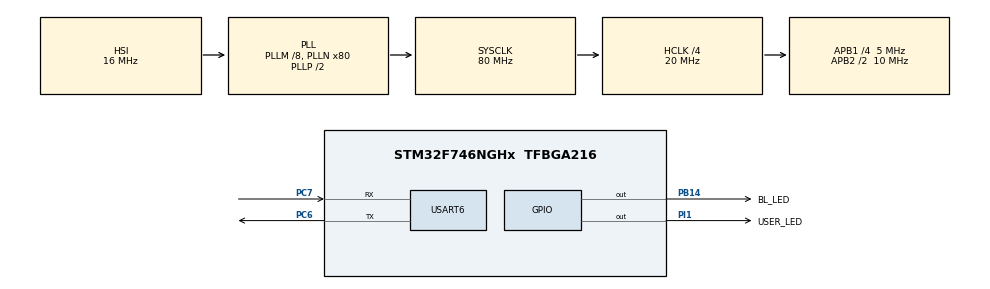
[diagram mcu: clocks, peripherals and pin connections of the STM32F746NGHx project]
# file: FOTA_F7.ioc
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CORTEX_M7.default_mode_Activation=1
Mcu.Family=STM32F7
Mcu.Name=STM32F746NGHx
Mcu.Package=TFBGA216
NVIC.PriorityGroup=NVIC_PRIORITYGROUP_4
NVIC.USART6_IRQn=true\:0\:0\:false\:false\:true\:true\:true\:true
PA13.Mode=Serial_Wire
PA13.Signal=SYS_JTMS-SWDIO
PA14.Mode=Serial_Wire
PA14.Signal=SYS_JTCK-SWCLK
PB14.GPIO_Label=BL_LED
PB14.Signal=GPIO_Output
PC6.Mode=Asynchronous
PC6.Signal=USART6_TX
PC7.Mode=Asynchronous
PC7.Signal=USART6_RX
PI1.GPIO_Label=USER_LED
PI1.Signal=GPIO_Output
ProjectManager.HeapSize=0x200
ProjectManager.StackSize=0x400
ProjectManager.TargetToolchain=STM32CubeIDE
RCC.AHBCLKDivider=RCC_SYSCLK_DIV4
RCC.AHBFreq_Value=20000000
RCC.APB1CLKDivider=RCC_HCLK_DIV4
RCC.APB1Freq_Value=5000000
RCC.APB1TimFreq_Value=10000000
RCC.APB2CLKDivider=RCC_HCLK_DIV2
RCC.APB2Freq_Value=10000000
RCC.APB2TimFreq_Value=20000000
RCC.CortexFreq_Value=20000000
RCC.HCLKFreq_Value=20000000
RCC.HSE_VALUE=25000000
RCC.HSI_VALUE=16000000
RCC.LSE_VALUE=32768
RCC.PLLM=8
RCC.PLLN=80
RCC.SYSCLKFreq_VALUE=80000000
RCC.SYSCLKSource=RCC_SYSCLKSOURCE_PLLCLK
RCC.USBFreq_Value=80000000
RCC.VCOOutputFreq_Value=160000000
USART6.VirtualMode-Asynchronous=VM_ASYNC
VP_CRC_VS_CRC.Mode=CRC_Activate
board=custom

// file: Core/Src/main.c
/* USER CODE BEGIN Header */
/**
  ******************************************************************************
  * @file           : main.c
  * @brief          : Main program body
  ******************************************************************************
  * @attention
  *
  * Copyright (c) 2025 STMicroelectronics.
  * All rights reserved.
  *
  * This software is licensed under terms that can be found in the LICENSE file
  * in the root directory of this software component.
  * If no LICENSE file comes with this software, it is provided AS-IS.
  *
  ******************************************************************************
  */
/* USER CODE END Header */
#include "main.h"

/* USER CODE BEGIN Includes */
#include "bootloader.h"
#include "flash.h"
#include "scheduler.h"
#include "UART.h"
/* USER CODE END Includes */

CRC_HandleTypeDef hcrc;

void SystemClock_Config(void);
static void MPU_Config(void);
static void MX_GPIO_Init(void);
static void MX_USART6_UART_Init(void);
static void MX_CRC_Init(void);

/* USER CODE BEGIN 0 */
static void Status_Led(void*);

#define         SCHEDULER_TASK_COUNT  2
uint32_t g_ui32SchedulerNumTasks = SCHEDULER_TASK_COUNT;
tSchedulerTask g_psSchedulerTable[SCHEDULER_TASK_COUNT] = { { &Status_Led,
		(void*) 0, 500,                       //call every 2mS
		0,                          //count from start
		true                        //is active
		}, { &BL_UART_Fetch_Host_Command, (void*) 0, 10,        //call every 2mS
				0,                          //count from start
				true                        //is active
		}, };

static void Status_Led(void*) {
	HAL_GPIO_TogglePin(BL_LED_GPIO_Port, BL_LED_Pin);
	//USART2_send_string("Hello from bootloader\n\r");
}
/* USER CODE END 0 */

int main(void)
{

  /* MPU Configuration--------------------------------------------------------*/
  MPU_Config();

  /* MCU Configuration--------------------------------------------------------*/

  /* Reset of all peripherals, Initializes the Flash interface and the Systick. */
  HAL_Init();

  /* Configure the system clock */
  SystemClock_Config();

  /* Initialize all configured peripherals */
  MX_GPIO_Init();
  MX_USART6_UART_Init();
  MX_CRC_Init();
  /* USER CODE BEGIN 2 */
  USART6_init();
  //Firmware_Check_Available();
  /* USER CODE END 2 */

  /* Infinite loop */
  while (1)
  {

    /* USER CODE BEGIN 3 */
	  SchedulerRun();
  }
  /* USER CODE END 3 */
}

void SystemClock_Config(void)
{
  RCC_OscInitTypeDef RCC_OscInitStruct = {0};
  RCC_ClkInitTypeDef RCC_ClkInitStruct = {0};

  /** Configure the main internal regulator output voltage
  */
  __HAL_RCC_PWR_CLK_ENABLE();
  __HAL_PWR_VOLTAGESCALING_CONFIG(PWR_REGULATOR_VOLTAGE_SCALE3);

  /** Initializes the RCC Oscillators according to the specified parameters
  * in the RCC_OscInitTypeDef structure.
  */
  RCC_OscInitStruct.OscillatorType = RCC_OSCILLATORTYPE_HSI;
  RCC_OscInitStruct.HSIState = RCC_HSI_ON;
  RCC_OscInitStruct.HSICalibrationValue = RCC_HSICALIBRATION_DEFAULT;
  RCC_OscInitStruct.PLL.PLLState = RCC_PLL_ON;
  RCC_OscInitStruct.PLL.PLLSource = RCC_PLLSOURCE_HSI;
  RCC_OscInitStruct.PLL.PLLM = 8;
  RCC_OscInitStruct.PLL.PLLN = 80;
  RCC_OscInitStruct.PLL.PLLP = RCC_PLLP_DIV2;
  RCC_OscInitStruct.PLL.PLLQ = 2;
  if (HAL_RCC_OscConfig(&RCC_OscInitStruct) != HAL_OK)
  {
    Error_Handler();
  }

  /** Initializes the CPU, AHB and APB buses clocks
  */
  RCC_ClkInitStruct.ClockType = RCC_CLOCKTYPE_HCLK|RCC_CLOCKTYPE_SYSCLK
                              |RCC_CLOCKTYPE_PCLK1|RCC_CLOCKTYPE_PCLK2;
  RCC_ClkInitStruct.SYSCLKSource = RCC_SYSCLKSOURCE_PLLCLK;
  RCC_ClkInitStruct.AHBCLKDivider = RCC_SYSCLK_DIV4;
  RCC_ClkInitStruct.APB1CLKDivider = RCC_HCLK_DIV4;
  RCC_ClkInitStruct.APB2CLKDivider = RCC_HCLK_DIV2;

  if (HAL_RCC_ClockConfig(&RCC_ClkInitStruct, FLASH_LATENCY_0) != HAL_OK)
  {
    Error_Handler();
  }
}

static void MX_CRC_Init(void)
{

  hcrc.Instance = CRC;
  hcrc.Init.DefaultPolynomialUse = DEFAULT_POLYNOMIAL_ENABLE;
  hcrc.Init.DefaultInitValueUse = DEFAULT_INIT_VALUE_ENABLE;
  hcrc.Init.InputDataInversionMode = CRC_INPUTDATA_INVERSION_NONE;
  hcrc.Init.OutputDataInversionMode = CRC_OUTPUTDATA_INVERSION_DISABLE;
  hcrc.InputDataFormat = CRC_INPUTDATA_FORMAT_BYTES;
  if (HAL_CRC_Init(&hcrc) != HAL_OK)
  {
    Error_Handler();
  }

}

static void MX_USART6_UART_Init(void)
{

  LL_USART_InitTypeDef USART_InitStruct = {0};

  LL_GPIO_InitTypeDef GPIO_InitStruct = {0};
  RCC_PeriphCLKInitTypeDef PeriphClkInitStruct = {0};

  /** Initializes the peripherals clock
  */
  PeriphClkInitStruct.PeriphClockSelection = RCC_PERIPHCLK_USART6;
  PeriphClkInitStruct.Usart6ClockSelection = RCC_USART6CLKSOURCE_PCLK2;
  if (HAL_RCCEx_PeriphCLKConfig(&PeriphClkInitStruct) != HAL_OK)
  {
    Error_Handler();
  }

  /* Peripheral clock enable */
  LL_APB2_GRP1_EnableClock(LL_APB2_GRP1_PERIPH_USART6);

  LL_AHB1_GRP1_EnableClock(LL_AHB1_GRP1_PERIPH_GPIOC);
  /**USART6 GPIO Configuration
  PC7   ------> USART6_RX
  PC6   ------> USART6_TX
  */
  GPIO_InitStruct.Pin = LL_GPIO_PIN_7;
  GPIO_InitStruct.Mode = LL_GPIO_MODE_ALTERNATE;
  GPIO_InitStruct.Speed = LL_GPIO_SPEED_FREQ_VERY_HIGH;
  GPIO_InitStruct.OutputType = LL_GPIO_OUTPUT_PUSHPULL;
  GPIO_InitStruct.Pull = LL_GPIO_PULL_NO;
  GPIO_InitStruct.Alternate = LL_GPIO_AF_8;
  LL_GPIO_Init(GPIOC, &GPIO_InitStruct);

  GPIO_InitStruct.Pin = LL_GPIO_PIN_6;
  GPIO_InitStruct.Mode = LL_GPIO_MODE_ALTERNATE;
  GPIO_InitStruct.Speed = LL_GPIO_SPEED_FREQ_VERY_HIGH;
  GPIO_InitStruct.OutputType = LL_GPIO_OUTPUT_PUSHPULL;
  GPIO_InitStruct.Pull = LL_GPIO_PULL_NO;
  GPIO_InitStruct.Alternate = LL_GPIO_AF_8;
  LL_GPIO_Init(GPIOC, &GPIO_InitStruct);

  /* USART6 interrupt Init */
  NVIC_SetPriority(USART6_IRQn, NVIC_EncodePriority(NVIC_GetPriorityGrouping(),0, 0));
  NVIC_EnableIRQ(USART6_IRQn);

  USART_InitStruct.BaudRate = 115200;
  USART_InitStruct.DataWidth = LL_USART_DATAWIDTH_8B;
  USART_InitStruct.StopBits = LL_USART_STOPBITS_1;
  USART_InitStruct.Parity = LL_USART_PARITY_NONE;
  USART_InitStruct.TransferDirection = LL_USART_DIRECTION_TX_RX;
  USART_InitStruct.HardwareFlowControl = LL_USART_HWCONTROL_NONE;
  USART_InitStruct.OverSampling = LL_USART_OVERSAMPLING_16;
  LL_USART_Init(USART6, &USART_InitStruct);
  LL_USART_ConfigAsyncMode(USART6);
  LL_USART_Enable(USART6);

}

static void MX_GPIO_Init(void)
{
  GPIO_InitTypeDef GPIO_InitStruct = {0};

  /* GPIO Ports Clock Enable */
  __HAL_RCC_GPIOA_CLK_ENABLE();
  __HAL_RCC_GPIOI_CLK_ENABLE();
  __HAL_RCC_GPIOC_CLK_ENABLE();
  __HAL_RCC_GPIOB_CLK_ENABLE();

  /*Configure GPIO pin Output Level */
  HAL_GPIO_WritePin(USER_LED_GPIO_Port, USER_LED_Pin, GPIO_PIN_RESET);

  /*Configure GPIO pin Output Level */
  HAL_GPIO_WritePin(BL_LED_GPIO_Port, BL_LED_Pin, GPIO_PIN_RESET);

  /*Configure GPIO pin : USER_LED_Pin */
  GPIO_InitStruct.Pin = USER_LED_Pin;
  GPIO_InitStruct.Mode = GPIO_MODE_OUTPUT_PP;
  GPIO_InitStruct.Pull = GPIO_NOPULL;
  GPIO_InitStruct.Speed = GPIO_SPEED_FREQ_LOW;
  HAL_GPIO_Init(USER_LED_GPIO_Port, &GPIO_InitStruct);

  /*Configure GPIO pin : BL_LED_Pin */
  GPIO_InitStruct.Pin = BL_LED_Pin;
  GPIO_InitStruct.Mode = GPIO_MODE_OUTPUT_PP;
  GPIO_InitStruct.Pull = GPIO_NOPULL;
  GPIO_InitStruct.Speed = GPIO_SPEED_FREQ_LOW;
  HAL_GPIO_Init(BL_LED_GPIO_Port, &GPIO_InitStruct);

}

 /* MPU Configuration */

void MPU_Config(void)
{
  MPU_Region_InitTypeDef MPU_InitStruct = {0};

  /* Disables the MPU */
  HAL_MPU_Disable();

  /** Initializes and configures the Region and the memory to be protected
  */
  MPU_InitStruct.Enable = MPU_REGION_ENABLE;
  MPU_InitStruct.Number = MPU_REGION_NUMBER0;
  MPU_InitStruct.BaseAddress = 0x0;
  MPU_InitStruct.Size = MPU_REGION_SIZE_4GB;
  MPU_InitStruct.SubRegionDisable = 0x87;
  MPU_InitStruct.TypeExtField = MPU_TEX_LEVEL0;
  MPU_InitStruct.AccessPermission = MPU_REGION_NO_ACCESS;
  MPU_InitStruct.DisableExec = MPU_INSTRUCTION_ACCESS_DISABLE;
  MPU_InitStruct.IsShareable = MPU_ACCESS_SHAREABLE;
  MPU_InitStruct.IsCacheable = MPU_ACCESS_NOT_CACHEABLE;
  MPU_InitStruct.IsBufferable = MPU_ACCESS_NOT_BUFFERABLE;

  HAL_MPU_ConfigRegion(&MPU_InitStruct);
  /* Enables the MPU */
  HAL_MPU_Enable(MPU_PRIVILEGED_DEFAULT);

}

void Error_Handler(void)
{
  __disable_irq();
  while (1)
  {
  }
}
